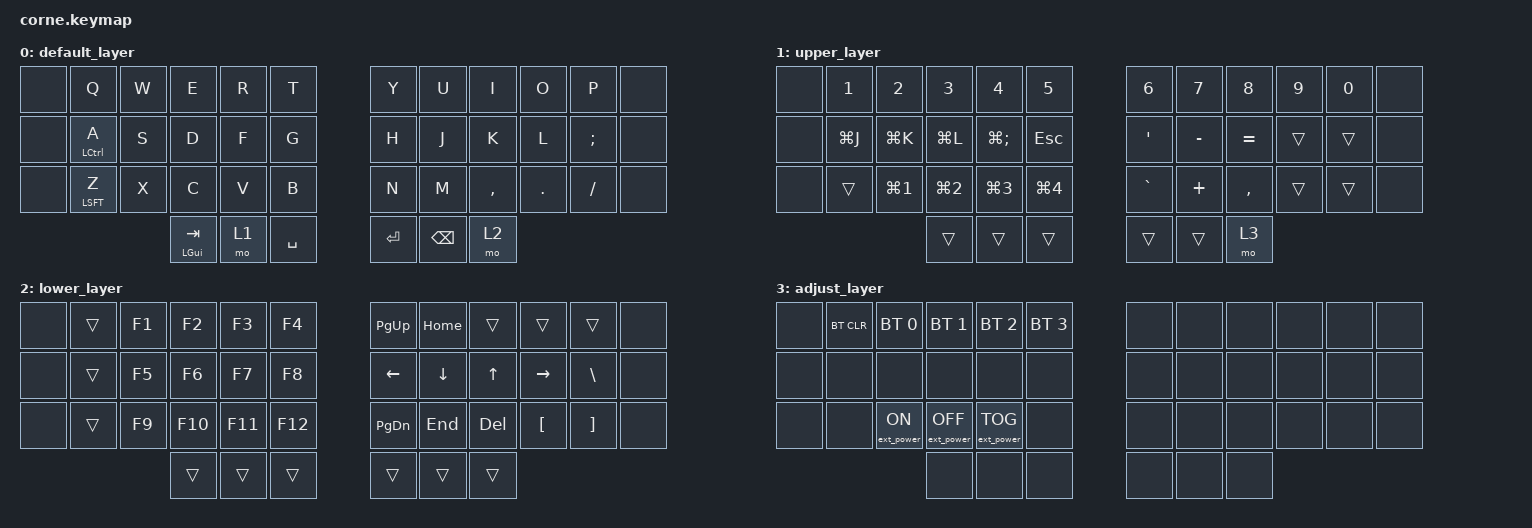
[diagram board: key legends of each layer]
#include <behaviors.dtsi>
#include <dt-bindings/zmk/keys.h>
#include <dt-bindings/zmk/bt.h>
#include <dt-bindings/zmk/ext_power.h>

// Using layer taps on thumbs, having quick tap as well helps w/ repeating space/backspace
&mt { tapping-term-ms = <150>; };

/ {

	keymap {
		compatible = "zmk,keymap";

    default_layer {
			bindings = <
		&none &kp Q       &kp W &kp E 	    	&kp R &kp T 					  	&kp Y 	 &kp U    &kp I     &kp O   &kp P 	 &none
		&none &mt LCTRL A	&kp S &kp D 	    	&kp F &kp G 					  	&kp H 	 &kp J    &kp K     &kp L   &kp SEMI &none
		&none &mt LSFT Z  &kp X &kp C 	    	&kp V &kp B				        &kp N 	 &kp M    &kp COMMA &kp DOT &kp FSLH &none
                						&mt LGUI TAB  &mo 1 &kp SPC  						&kp RET  &kp BSPC &mo 2
			>;
		};

    upper_layer {
			bindings = <
		&none &kp 1       &kp 2 			&kp 3      &kp 4			   &kp 5 					  		&kp 6 	 	 &kp 7    	 &kp 8      &kp 9   &kp 0 	 &none
		&none &kp LG(J)   &kp LG(K)   &kp LG(L)  &kp LG(SEMI)  &kp ESC 					  	&kp SQT 	 &kp MINUS   &kp EQUAL  &trans  &trans   &none
		&none &trans      &kp LG(1)   &kp LG(2)  &kp LG(3)     &kp LG(4)				    &kp GRAVE  &kp PLUS    &kp COMMA 	&trans  &trans   &none
                									&trans     &trans				 &trans  						  &trans   	 &trans 	   &mo 3
			>;
		};

		lower_layer {
			bindings = <
		&none &trans   &kp F1		&kp F2   &kp F3 	&kp F4				  	    &kp PG_UP   &kp HOME 	&trans   &trans 		&trans  	&none
		&none &trans   &kp F5		&kp F6   &kp F7 	&kp	F8  		  			  &kp LEFT    &kp DOWN 	&kp UP   &kp RIGHT 	&kp BSLH  &none
		&none &trans   &kp F9		&kp F10  &kp F11 	&kp F12 				  	  &kp PG_DN   &kp END 	&kp DEL  &kp LBKT 	&kp RBKT  &none
                						&trans   &trans	  &trans  						  &trans      &trans    &trans
			>;
		};

		adjust_layer {
			bindings = <
		&none	&bt BT_CLR 	&bt BT_SEL 0     &bt BT_SEL 1  	   &bt BT_SEL 2   	  &bt BT_SEL 3				  &none &none   &none		&none &none   &none
		&none &none   		&none				     &none 						 &none  					  &none					  	    &none &none   &none		&none &none   &none
		&none &none   		&ext_power EP_ON &ext_power EP_OFF &ext_power EP_TOG 	&none					  	    &none &none   &none		&none &none   &none
																			&none 						 &none			  			&none												&none &none   &none
			>;
		};
	};
};
